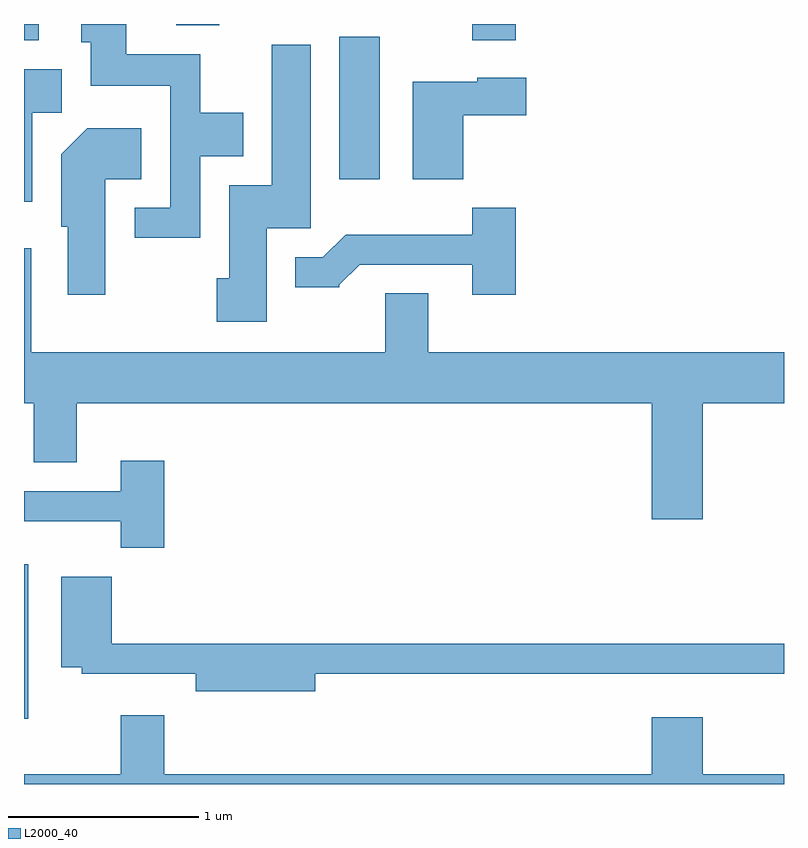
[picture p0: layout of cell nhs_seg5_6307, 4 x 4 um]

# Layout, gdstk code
import gdstk
lib = gdstk.Library(unit=1e-6, precision=1e-09)
def R(c, l, rs):  # rectangles x0, y0, x1, y1
    for r in rs: c.add(gdstk.rectangle(r[:2], r[2:], *l))
def P(c, l, *ps):  # polygons
    for p in ps: c.add(gdstk.Polygon(p, *l))
L2000_40 = (2000, 40)

nhs_seg5_6307 = lib.new_cell('nhs_seg5_6307')
R(nhs_seg5_6307, L2000_40, [(371.611,1508.416,371.634,1509.229), (373.271,1511.256,373.484,1512.004), (371.611,1511.986,371.689,1512.072), (373.971,1511.986,374.199,1512.072), (372.411,1512.066,372.639,1512.072)])
P(nhs_seg5_6307, L2000_40, [(372.539,1511.376),(372.764,1511.376),(372.764,1511.604),(372.539,1511.604),(372.539,1511.914),(372.149,1511.914),(372.149,1512.072),(371.913,1512.072),(371.913,1511.976),(371.961,1511.976),(371.961,1511.746),(372.381,1511.746),(372.381,1511.104),(372.193,1511.104),(372.193,1510.946),(372.539,1510.946)],
  [(372.889,1510.996),(373.119,1510.996),(373.119,1511.964),(372.916,1511.964),(372.916,1511.224),(372.691,1511.224),(372.691,1510.734),(372.626,1510.734),(372.626,1510.506),(372.889,1510.506)],
  [(371.654,1511.606),(371.809,1511.606),(371.809,1511.834),(371.611,1511.834),(371.611,1511.136),(371.654,1511.136)],
  [(373.924,1511.591),(374.254,1511.591),(374.254,1511.789),(373.996,1511.789),(373.996,1511.769),(373.656,1511.769),(373.656,1511.256),(373.924,1511.256)],
  [(372.039,1511.256),(372.229,1511.256),(372.229,1511.524),(371.944,1511.524),(371.806,1511.387),(371.806,1511.006),(371.841,1511.006),(371.841,1510.646),(372.039,1510.646)],
  [(374.199,1511.104),(373.971,1511.104),(373.971,1510.964),(373.304,1510.964),(373.184,1510.844),(373.038,1510.844),(373.038,1510.686),(373.27,1510.686),(373.27,1510.7),(373.377,1510.806),(373.971,1510.806),(373.971,1510.646),(374.199,1510.646)],
  [(375.184,1510.076),(375.611,1510.076),(375.611,1510.344),(373.739,1510.344),(373.739,1510.654),(373.511,1510.654),(373.511,1510.344),(371.649,1510.344),(371.649,1510.893),(371.611,1510.893),(371.611,1510.076),(371.661,1510.076),(371.661,1509.766),(371.889,1509.766),(371.889,1510.076),(374.916,1510.076),(374.916,1509.466),(375.184,1509.466)],
  [(372.349,1509.774),(372.121,1509.774),(372.121,1509.614),(371.611,1509.614),(371.611,1509.456),(372.121,1509.456),(372.121,1509.316),(372.349,1509.316)],
  [(373.144,1508.651),(375.611,1508.651),(375.611,1508.809),(372.074,1508.809),(372.074,1509.164),(371.806,1509.164),(371.806,1508.686),(371.916,1508.686),(371.916,1508.651),(372.516,1508.651),(372.516,1508.561),(373.144,1508.561)],
  [(375.611,1508.124),(375.184,1508.124),(375.184,1508.424),(374.916,1508.424),(374.916,1508.124),(372.349,1508.124),(372.349,1508.434),(372.121,1508.434),(372.121,1508.124),(371.611,1508.124),(371.611,1508.072),(375.611,1508.072)])

lib.write_gds('nhs_seg5_6307.gds')
